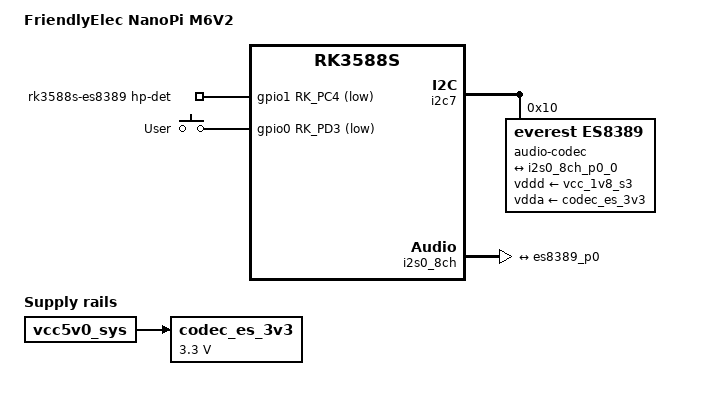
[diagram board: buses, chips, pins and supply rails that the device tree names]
// SPDX-License-Identifier: (GPL-2.0+ OR MIT)

/dts-v1/;

#include "rk3588s-nanopi-m6.dtsi"

/ {
	model = "FriendlyElec NanoPi M6V2";
	compatible = "friendlyarm,nanopi-m6v2", "rockchip,rk3588s";

	analog-sound {
		compatible = "audio-graph-card";
		dais = <&i2s0_8ch_p0>;
		hp-det-gpios = <&gpio1 RK_PC4 GPIO_ACTIVE_LOW>;
		label = "rk3588s-es8389";
		pinctrl-names = "default";
		pinctrl-0 = <&hp_det>;
		routing =
			"Headphones", "HPOL",
			"Headphones", "HPOR",
			"INPUT1", "Microphone Jack",
			"INPUT2", "Microphone Jack";
		widgets =
			"Headphone", "Headphones",
			"Microphone", "Microphone Jack";
	};

	codec_es_3v3: regulator-codec-es-3v3 {
		compatible = "regulator-fixed";
		regulator-always-on;
		regulator-boot-on;
		regulator-min-microvolt = <3300000>;
		regulator-max-microvolt = <3300000>;
		regulator-name = "codec_es_3v3";
		vin-supply = <&vcc5v0_sys>;
	};

	gpio-keys {
		compatible = "gpio-keys";
		pinctrl-names = "default";
		pinctrl-0 = <&user_btn>;

		user-button {
			gpios = <&gpio0 RK_PD3 GPIO_ACTIVE_LOW>;
			label = "User";
			linux,code = <BTN_1>;
			debounce-interval = <50>;
		};
	};
};

&i2c7 {
	audio-codec@10 {
		compatible = "everest,es8389";
		reg = <0x10>;
		assigned-clocks = <&cru I2S0_8CH_MCLKOUT_TO_IO>;
		assigned-clock-rates = <12288000>;
		clocks = <&cru I2S0_8CH_MCLKOUT_TO_IO>;
		clock-names = "mclk";
		vddd-supply = <&vcc_1v8_s3>;
		vdda-supply = <&codec_es_3v3>;
		#sound-dai-cells = <0>;

		port {
			es8389_p0: endpoint {
				remote-endpoint = <&i2s0_8ch_p0_0>;
			};
		};
	};
};

&i2s0_8ch {
	i2s0_8ch_p0: port {
		i2s0_8ch_p0_0: endpoint {
			dai-format = "i2s";
			mclk-fs = <256>;
			remote-endpoint = <&es8389_p0>;
		};
	};
};

&pinctrl {
	buttons {
		user_btn: user-btn {
			rockchip,pins = <0 RK_PD3 RK_FUNC_GPIO &pcfg_pull_none>;
		};
	};
};

&rgmii_phy1 { /* MotorComm YT8531C */
	compatible = "ethernet-phy-id4f51.e91b";
};
